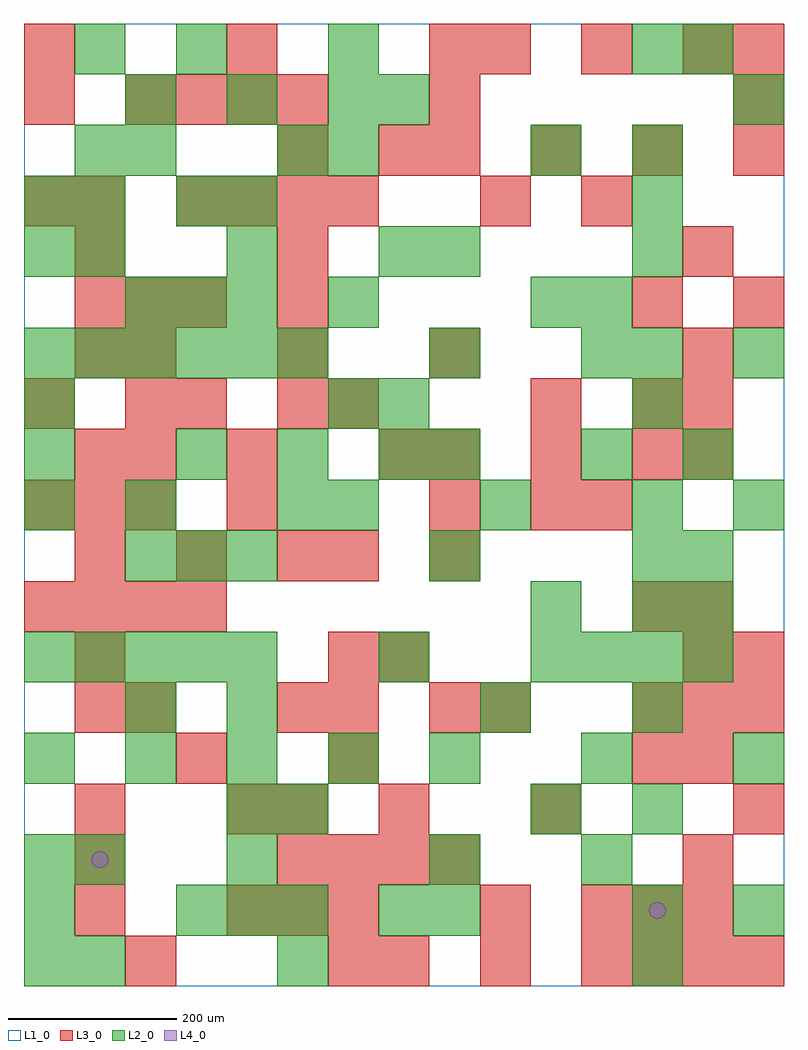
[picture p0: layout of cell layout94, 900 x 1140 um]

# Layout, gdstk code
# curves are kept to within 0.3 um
import gdstk
lib = gdstk.Library(unit=1e-6, precision=1e-09)
def R(c, l, rs):  # rectangles x0, y0, x1, y1
    for r in rs: c.add(gdstk.rectangle(r[:2], r[2:], *l))
def A(c, l, x, y, w, h, nx, ny, dx, dy):  # array of equal rectangles
    R(c, l, [(x+i*dx, y+j*dy, x+i*dx+w, y+j*dy+h) for i in range(nx) for j in range(ny)])
def P(c, l, *ps):  # polygons
    for p in ps: c.add(gdstk.Polygon(p, *l))
L1_0 = (1, 0)
L2_0 = (2, 0)
L3_0 = (3, 0)
L4_0 = (4, 0)

layout94 = lib.new_cell('layout94')
R(layout94, L1_0, [(0,0,900,1140)])
A(layout94, L2_0, 0, 0, 60, 60, 1, 3, 0, 60)
A(layout94, L2_0, 180, 60, 60, 60, 3, 1, 60, 0)
A(layout94, L2_0, 420, 60, 60, 60, 1, 3, 0, 300)
A(layout94, L2_0, 720, 60, 60, 60, 1, 4, 0, 120)
A(layout94, L2_0, 0, 240, 60, 60, 5, 1, 120, 0)
A(layout94, L2_0, 0, 360, 60, 60, 5, 1, 60, 0)
A(layout94, L2_0, 600, 360, 60, 60, 4, 1, 60, 0)
A(layout94, L2_0, 120, 480, 60, 60, 3, 2, 60, 300)
A(layout94, L2_0, 480, 480, 60, 60, 1, 4, 0, 120)
A(layout94, L2_0, 0, 540, 60, 60, 1, 3, 0, 60)
A(layout94, L2_0, 360, 540, 60, 60, 3, 1, 180, 0)
A(layout94, L2_0, 180, 600, 60, 60, 3, 1, 120, 0)
A(layout94, L2_0, 0, 720, 60, 60, 6, 1, 60, 0)
A(layout94, L2_0, 60, 840, 60, 60, 3, 1, 180, 0)
A(layout94, L2_0, 720, 840, 60, 60, 1, 3, 0, 60)
A(layout94, L2_0, 120, 1020, 60, 60, 3, 1, 120, 0)
R(layout94, L2_0, [(60,0,120,60), (300,0,360,60), (720,0,780,60), (480,60,540,120), (840,60,900,120), (60,120,120,180), (240,120,300,180), (480,120,540,180), (660,120,720,180), (240,180,300,240), (300,180,360,240), (600,180,660,240), (660,240,720,300), (840,240,900,300), (120,300,180,360), (240,300,300,360), (540,300,600,360), (600,420,660,480), (780,420,840,480), (720,480,780,540), (780,480,840,540), (120,540,180,600), (300,540,360,600), (840,540,900,600), (660,600,720,660), (780,600,840,660), (360,660,420,720), (720,660,780,720), (660,720,720,780), (720,720,780,780), (840,720,900,780), (360,780,420,840), (600,780,660,840), (660,780,720,840), (0,840,60,900), (0,900,60,960), (60,900,120,960), (180,900,240,960), (240,900,300,960), (60,960,120,1020), (120,960,180,1020), (300,960,360,1020), (360,960,420,1020), (600,960,660,1020), (420,1020,480,1080), (840,1020,900,1080), (60,1080,120,1140), (180,1080,240,1140), (360,1080,420,1140), (720,1080,780,1140), (780,1080,840,1140)])
A(layout94, L3_0, 120, 0, 60, 60, 1, 3, 0, 300)
A(layout94, L3_0, 420, 0, 60, 60, 3, 1, 120, 0)
A(layout94, L3_0, 720, 0, 60, 60, 3, 2, 60, 300)
A(layout94, L3_0, 60, 60, 60, 60, 1, 3, 0, 60)
A(layout94, L3_0, 240, 60, 60, 60, 3, 1, 60, 0)
A(layout94, L3_0, 660, 60, 60, 60, 3, 1, 60, 0)
A(layout94, L3_0, 300, 120, 60, 60, 4, 1, 60, 0)
A(layout94, L3_0, 780, 120, 60, 60, 1, 3, 0, 120)
A(layout94, L3_0, 360, 240, 60, 60, 1, 3, 0, 60)
A(layout94, L3_0, 0, 420, 60, 60, 4, 1, 60, 0)
A(layout94, L3_0, 60, 480, 60, 60, 3, 1, 120, 0)
A(layout94, L3_0, 0, 540, 60, 60, 3, 1, 60, 0)
A(layout94, L3_0, 60, 600, 60, 60, 1, 3, 0, 120)
A(layout94, L3_0, 480, 600, 60, 60, 3, 1, 120, 0)
A(layout94, L3_0, 780, 600, 60, 60, 1, 3, 0, 60)
A(layout94, L3_0, 120, 720, 60, 60, 3, 1, 180, 0)
A(layout94, L3_0, 60, 780, 60, 60, 3, 1, 60, 0)
A(layout94, L3_0, 180, 900, 60, 60, 4, 1, 60, 0)
A(layout94, L3_0, 480, 960, 60, 60, 4, 1, 120, 0)
A(layout94, L3_0, 120, 1020, 60, 60, 4, 1, 60, 0)
A(layout94, L3_0, 0, 1080, 60, 60, 3, 1, 240, 0)
A(layout94, L3_0, 540, 1080, 60, 60, 3, 1, 120, 0)
R(layout94, L3_0, [(360,0,420,60), (540,60,600,120), (240,180,300,240), (300,180,360,240), (420,180,480,240), (600,180,660,240), (840,180,900,240), (180,240,240,300), (720,240,780,300), (60,300,120,360), (300,300,360,360), (480,300,540,360), (540,300,600,360), (60,360,120,420), (420,360,480,420), (840,360,900,420), (720,420,780,480), (780,420,840,480), (360,480,420,540), (480,480,540,540), (240,540,300,600), (480,540,540,600), (600,540,660,600), (660,540,720,600), (240,600,300,660), (420,600,480,660), (0,660,60,720), (120,660,180,720), (180,660,240,720), (300,660,360,720), (360,660,420,720), (600,660,660,720), (720,660,780,720), (300,780,360,840), (720,780,780,840), (840,780,900,840), (300,840,360,900), (780,840,840,900), (0,900,60,960), (60,900,120,960), (540,900,600,960), (660,900,720,960), (300,960,360,1020), (420,960,480,1020), (0,1020,60,1080), (480,1020,540,1080), (840,1020,900,1080), (840,1080,900,1140)])
P(layout94, L4_0, [(100,150),(99.239,153.827),(97.071,157.071),(93.827,159.239),(90,160),(86.173,159.239),(82.929,157.071),(80.761,153.827),(80,150),(80.761,146.173),(82.929,142.929),(86.173,140.761),(90,140),(93.827,140.761),(97.071,142.929),(99.239,146.173)],
  [(760,90),(759.239,93.827),(757.071,97.071),(753.827,99.239),(750,100),(746.173,99.239),(742.929,97.071),(740.761,93.827),(740,90),(740.761,86.173),(742.929,82.929),(746.173,80.761),(750,80),(753.827,80.761),(757.071,82.929),(759.239,86.173)])

lib.write_gds('layout94.gds')
